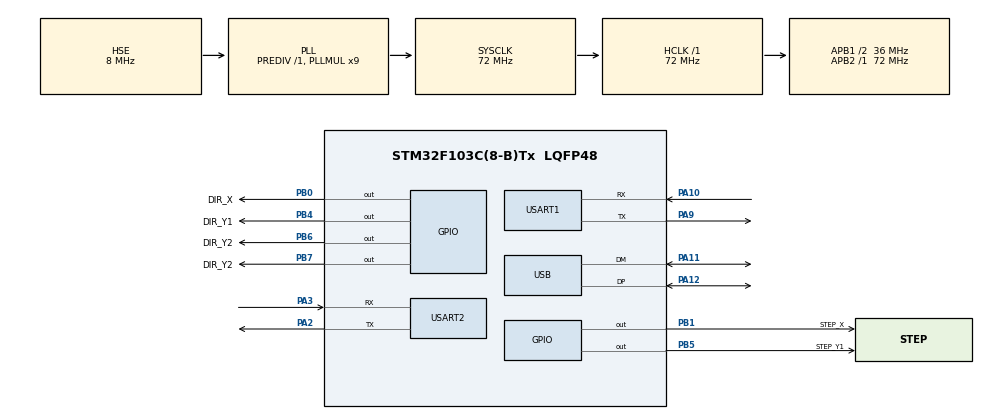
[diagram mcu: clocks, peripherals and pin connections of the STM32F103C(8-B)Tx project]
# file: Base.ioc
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Mcu.Family=STM32F1
Mcu.Name=STM32F103C(8-B)Tx
Mcu.Package=LQFP48
NVIC.PriorityGroup=NVIC_PRIORITYGROUP_4
PA10.Mode=Asynchronous
PA10.Signal=USART1_RX
PA11.Mode=Device
PA11.Signal=USB_DM
PA12.Mode=Device
PA12.Signal=USB_DP
PA13.Mode=Serial_Wire
PA13.Signal=SYS_JTMS-SWDIO
PA14.Mode=Serial_Wire
PA14.Signal=SYS_JTCK-SWCLK
PA2.Mode=Asynchronous
PA2.Signal=USART2_TX
PA3.Mode=Asynchronous
PA3.Signal=USART2_RX
PA9.Mode=Asynchronous
PA9.Signal=USART1_TX
PB0.GPIO_Label=DIR_X
PB0.Signal=GPIO_Output
PB1.GPIO_Label=STEP_X
PB1.Signal=GPIO_Output
PB4.GPIO_Label=DIR_Y1
PB4.Signal=GPIO_Output
PB5.GPIO_Label=STEP_Y1
PB5.Signal=GPIO_Output
PB6.GPIO_Label=DIR_Y2
PB6.Signal=GPIO_Output
PB7.GPIO_Label=DIR_Y2
PB7.Signal=GPIO_Output
PC14-OSC32_IN.Mode=LSE-External-Oscillator
PC14-OSC32_IN.Signal=RCC_OSC32_IN
PC15-OSC32_OUT.Mode=LSE-External-Oscillator
PC15-OSC32_OUT.Signal=RCC_OSC32_OUT
PD0-OSC_IN.Mode=HSE-External-Oscillator
PD0-OSC_IN.Signal=RCC_OSC_IN
PD1-OSC_OUT.Mode=HSE-External-Oscillator
PD1-OSC_OUT.Signal=RCC_OSC_OUT
ProjectManager.HeapSize=0x200
ProjectManager.StackSize=0x400
ProjectManager.TargetToolchain=CMake
RCC.AHBFreq_Value=72000000
RCC.APB1CLKDivider=RCC_HCLK_DIV2
RCC.APB1Freq_Value=36000000
RCC.APB1TimFreq_Value=72000000
RCC.APB2Freq_Value=72000000
RCC.APB2TimFreq_Value=72000000
RCC.HCLKFreq_Value=72000000
RCC.PLLMUL=RCC_PLL_MUL9
RCC.SYSCLKFreq_VALUE=72000000
RCC.SYSCLKSource=RCC_SYSCLKSOURCE_PLLCLK
RCC.USBFreq_Value=48000000
RCC.USBPrescaler=RCC_USBCLKSOURCE_PLL_DIV1_5
USART1.VirtualMode=VM_ASYNC
USART2.VirtualMode=VM_ASYNC
board=custom

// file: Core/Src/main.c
/* USER CODE BEGIN Header */
/**
  ******************************************************************************
  * @file           : main.c
  * @brief          : Main program body
  ******************************************************************************
  * @attention
  *
  * Copyright (c) 2026 STMicroelectronics.
  * All rights reserved.
  *
  * This software is licensed under terms that can be found in the LICENSE file
  * in the root directory of this software component.
  * If no LICENSE file comes with this software, it is provided AS-IS.
  *
  ******************************************************************************
  */
/* USER CODE END Header */
#include "main.h"

/* USER CODE BEGIN Includes */
#include <stdlib.h>
#include <string.h>
#include <stdio.h>
/* USER CODE END Includes */

UART_HandleTypeDef huart1;
UART_HandleTypeDef huart2;

PCD_HandleTypeDef hpcd_USB_FS;

/* USER CODE BEGIN PV */
#define MAX_ROWS 10
#define MAX_COLS 20
#define STEPS_PER_UNIT 10

int current_row = 0;
int current_col = 0;

#define RX_BUFFER_SIZE 10
uint8_t rx_byte;
char rx_str_buffer[RX_BUFFER_SIZE];
uint8_t rx_index = 0;
volatile uint8_t command_ready = 0;
/* USER CODE END PV */

void SystemClock_Config(void);
static void MX_GPIO_Init(void);
static void MX_USART1_UART_Init(void);
static void MX_USART2_UART_Init(void);
static void MX_USB_PCD_Init(void);

/* USER CODE BEGIN 0 */
void delay_us(uint32_t us) {
    us *= 8; // Multiplier tuned for 8MHz default clock speed
    while (us--) {
        __NOP();
    }
}

void execute_motor_steps(const char* axis_name, int total_steps, int forward) {
    if (strcmp(axis_name, "Vertical") == 0) {
        GPIO_PinState dir_state = forward ? GPIO_PIN_SET : GPIO_PIN_RESET;
        // Uses the generated CubeMX pin labels for PB1 and PB4
        HAL_GPIO_WritePin(GPIOB, Y1_DIR_Pin | Y2_DIR_Pin, dir_state);

        for (int i = 0; i < total_steps; i++) {
            // Uses generated pin labels for PB0 and PB3 (Step pulses)
            HAL_GPIO_WritePin(GPIOB, Y1_STEP_Pin | Y2_STEP_Pin, GPIO_PIN_SET);
            delay_us(5);
            HAL_GPIO_WritePin(GPIOB, Y1_STEP_Pin | Y2_STEP_Pin, GPIO_PIN_RESET);
            delay_us(5);
        }
    } else {
        GPIO_PinState dir_state = forward ? GPIO_PIN_SET : GPIO_PIN_RESET;
        HAL_GPIO_WritePin(GPIOB, X_DIR_Pin, dir_state);

        for (int i = 0; i < total_steps; i++) {
            HAL_GPIO_WritePin(GPIOB, X_STEP_Pin, GPIO_PIN_SET);
            delay_us(5);
            HAL_GPIO_WritePin(GPIOB, X_STEP_Pin, GPIO_PIN_RESET);
            delay_us(5);
        }
    }
}

void move_to_coordinate(int target_row, int target_col) {
    if (target_row < 0 || target_row >= MAX_ROWS || target_col < 0 || target_col >= MAX_COLS) {
        return;
    }

    int row_diff = target_row - current_row;
    int col_diff = target_col - current_col;

    if (row_diff != 0) {
        int forward = (row_diff > 0) ? 1 : 0;
        int total_steps = abs(row_diff) * STEPS_PER_UNIT;
        execute_motor_steps("Vertical", total_steps, forward);
        current_row = target_row;
    }

    if (col_diff != 0) {
        int forward = (col_diff > 0) ? 1 : 0;
        int total_steps = abs(col_diff) * STEPS_PER_UNIT;
        execute_motor_steps("Horizontal", total_steps, forward);
        current_col = target_col;
    }
}
/* USER CODE END 0 */

int main(void)
{

  /* MCU Configuration--------------------------------------------------------*/

  /* Reset of all peripherals, Initializes the Flash interface and the Systick. */
  HAL_Init();

  /* Configure the system clock */
  SystemClock_Config();

  /* Initialize all configured peripherals */
  MX_GPIO_Init();
  MX_USART1_UART_Init();
  MX_USART2_UART_Init();
  MX_USB_PCD_Init();

  /* Infinite loop */
  /* USER CODE BEGIN WHILE */
  while (1)
  {
	  if (command_ready) {
	          command_ready = 0;

	          int target_r = -1;
	          int target_c = 0;
            char row_char;

	          if (sscanf(rx_str_buffer, " %c %d", &row_char, &target_c) == 2) {
              if (row_char >= 'A' && row_char <= 'J') {
                  target_r = row_char - 'A';
              } else if (row_char >= 'a' && row_char <= 'j') {
                  target_r = row_char - 'a';
              }

            if (target_r >= 0){
              move_to_coordinate(target_r, target_c);
            }

	          }
	  }
    /* USER CODE END WHILE */

  }
}

void SystemClock_Config(void)
{
  RCC_OscInitTypeDef RCC_OscInitStruct = {0};
  RCC_ClkInitTypeDef RCC_ClkInitStruct = {0};
  RCC_PeriphCLKInitTypeDef PeriphClkInit = {0};

  /** Initializes the RCC Oscillators according to the specified parameters
  * in the RCC_OscInitTypeDef structure.
  */
  RCC_OscInitStruct.OscillatorType = RCC_OSCILLATORTYPE_HSE;
  RCC_OscInitStruct.HSEState = RCC_HSE_ON;
  RCC_OscInitStruct.HSEPredivValue = RCC_HSE_PREDIV_DIV1;
  RCC_OscInitStruct.HSIState = RCC_HSI_ON;
  RCC_OscInitStruct.PLL.PLLState = RCC_PLL_ON;
  RCC_OscInitStruct.PLL.PLLSource = RCC_PLLSOURCE_HSE;
  RCC_OscInitStruct.PLL.PLLMUL = RCC_PLL_MUL9;
  if (HAL_RCC_OscConfig(&RCC_OscInitStruct) != HAL_OK)
  {
    Error_Handler();
  }

  /** Initializes the CPU, AHB and APB buses clocks
  */
  RCC_ClkInitStruct.ClockType = RCC_CLOCKTYPE_HCLK|RCC_CLOCKTYPE_SYSCLK
                              |RCC_CLOCKTYPE_PCLK1|RCC_CLOCKTYPE_PCLK2;
  RCC_ClkInitStruct.SYSCLKSource = RCC_SYSCLKSOURCE_PLLCLK;
  RCC_ClkInitStruct.AHBCLKDivider = RCC_SYSCLK_DIV1;
  RCC_ClkInitStruct.APB1CLKDivider = RCC_HCLK_DIV2;
  RCC_ClkInitStruct.APB2CLKDivider = RCC_HCLK_DIV1;

  if (HAL_RCC_ClockConfig(&RCC_ClkInitStruct, FLASH_LATENCY_2) != HAL_OK)
  {
    Error_Handler();
  }
  PeriphClkInit.PeriphClockSelection = RCC_PERIPHCLK_USB;
  PeriphClkInit.UsbClockSelection = RCC_USBCLKSOURCE_PLL_DIV1_5;
  if (HAL_RCCEx_PeriphCLKConfig(&PeriphClkInit) != HAL_OK)
  {
    Error_Handler();
  }
}

static void MX_USART1_UART_Init(void)
{

  huart1.Instance = USART1;
  huart1.Init.BaudRate = 115200;
  huart1.Init.WordLength = UART_WORDLENGTH_8B;
  huart1.Init.StopBits = UART_STOPBITS_1;
  huart1.Init.Parity = UART_PARITY_NONE;
  huart1.Init.Mode = UART_MODE_TX_RX;
  huart1.Init.HwFlowCtl = UART_HWCONTROL_NONE;
  huart1.Init.OverSampling = UART_OVERSAMPLING_16;
  if (HAL_UART_Init(&huart1) != HAL_OK)
  {
    Error_Handler();
  }

}

static void MX_USART2_UART_Init(void)
{

  huart2.Instance = USART2;
  huart2.Init.BaudRate = 115200;
  huart2.Init.WordLength = UART_WORDLENGTH_8B;
  huart2.Init.StopBits = UART_STOPBITS_1;
  huart2.Init.Parity = UART_PARITY_NONE;
  huart2.Init.Mode = UART_MODE_TX_RX;
  huart2.Init.HwFlowCtl = UART_HWCONTROL_NONE;
  huart2.Init.OverSampling = UART_OVERSAMPLING_16;
  if (HAL_UART_Init(&huart2) != HAL_OK)
  {
    Error_Handler();
  }

}

static void MX_USB_PCD_Init(void)
{

  hpcd_USB_FS.Instance = USB;
  hpcd_USB_FS.Init.dev_endpoints = 8;
  hpcd_USB_FS.Init.speed = PCD_SPEED_FULL;
  hpcd_USB_FS.Init.low_power_enable = DISABLE;
  hpcd_USB_FS.Init.lpm_enable = DISABLE;
  hpcd_USB_FS.Init.battery_charging_enable = DISABLE;
  if (HAL_PCD_Init(&hpcd_USB_FS) != HAL_OK)
  {
    Error_Handler();
  }

}

static void MX_GPIO_Init(void)
{
  GPIO_InitTypeDef GPIO_InitStruct = {0};

  /* GPIO Ports Clock Enable */
  __HAL_RCC_GPIOC_CLK_ENABLE();
  __HAL_RCC_GPIOD_CLK_ENABLE();
  __HAL_RCC_GPIOA_CLK_ENABLE();
  __HAL_RCC_GPIOB_CLK_ENABLE();

  /*Configure GPIO pin Output Level */
  HAL_GPIO_WritePin(GPIOB, DIR_X_Pin|STEP_X_Pin|DIR_Y1_Pin|STEP_Y1_Pin
                          |DIR_Y2_Pin|DIR_Y2B7_Pin, GPIO_PIN_RESET);

  /*Configure GPIO pins : DIR_X_Pin STEP_X_Pin DIR_Y1_Pin STEP_Y1_Pin
                           DIR_Y2_Pin DIR_Y2B7_Pin */
  GPIO_InitStruct.Pin = DIR_X_Pin|STEP_X_Pin|DIR_Y1_Pin|STEP_Y1_Pin
                          |DIR_Y2_Pin|DIR_Y2B7_Pin;
  GPIO_InitStruct.Mode = GPIO_MODE_OUTPUT_PP;
  GPIO_InitStruct.Pull = GPIO_NOPULL;
  GPIO_InitStruct.Speed = GPIO_SPEED_FREQ_LOW;
  HAL_GPIO_Init(GPIOB, &GPIO_InitStruct);

}

/* USER CODE BEGIN 4 */
void HAL_UART_RxCpltCallback(UART_HandleTypeDef *huart) {
    if (huart->Instance == USART1) {
        if (rx_byte == '\n' || rx_byte == '\r') {
            if (rx_index > 0) {
                rx_str_buffer[rx_index] = '\0';
                command_ready = 1;
                rx_index = 0;
            }
        } else {
            if (rx_index < (RX_BUFFER_SIZE - 1)) {
                rx_str_buffer[rx_index++] = rx_byte;
            }
        }

        HAL_UART_Receive_IT(&huart1, &rx_byte, 1);
    }
}
/* USER CODE END 4 */

void Error_Handler(void)
{
  __disable_irq();
  while (1)
  {
  }
}
